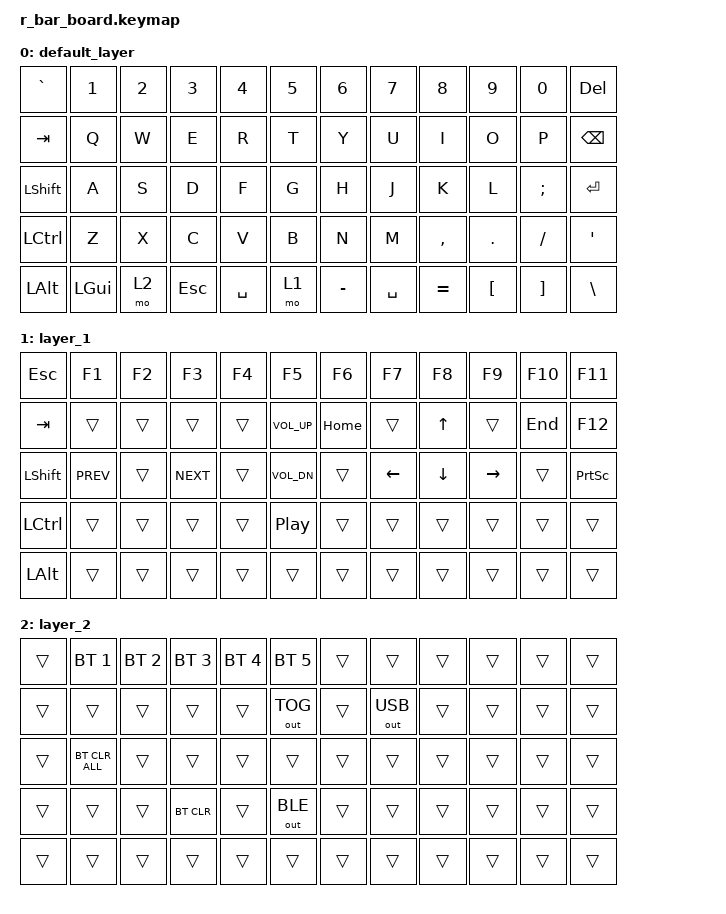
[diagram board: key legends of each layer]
#include <behaviors.dtsi>
#include <dt-bindings/zmk/keys.h>
#include <dt-bindings/zmk/bt.h>
#include <dt-bindings/zmk/outputs.h>

/ {
        keymap {
                compatible = "zmk,keymap";

                default_layer {
// --------------------------------------     --------------------------------------
// |   `  |  1  |  2  |  3  |  4  |  5  |     |  6  |  7  |  8  |  9  |  0  | DEL  |
// |  TAB |  Q  |  W  |  E  |  R  |  T  |     |  Y  |  U  |  I  |  O  |  P  | BSPC |
// | SHFT |  A  |  S  |  D  |  F  |  G  |     |  H  |  J  |  K  |  L  |  ;  |  ENT |
// | CTRL |  Z  |  X  |  C  |  V  |  B  |     |  N  |  M  |  ,  |  .  |  /  | APOS |
// | ALT  | GUI | LAY2| ESC | SPC | LAY1|     |MINUS| SPC |EQUAL|LBKT |RBKT | BSLH |
                        bindings = <
   &kp GRAVE  &kp N1    &kp N2    &kp N3    &kp N4     &kp N5            &kp N6     &kp N7      &kp N8     &kp N9    &kp N0    &kp DEL
   &kp TAB    &kp Q     &kp W     &kp E     &kp R      &kp T             &kp Y      &kp U       &kp I      &kp O     &kp P     &kp BSPC
   &kp LSHFT  &kp A     &kp S     &kp D     &kp F      &kp G             &kp H      &kp J       &kp K      &kp L     &kp SEMI  &kp RET
   &kp LCTRL  &kp Z     &kp X     &kp C     &kp V      &kp B             &kp N      &kp M       &kp COMMA  &kp DOT   &kp FSLH  &kp APOS
   &kp LALT   &kp LGUI  &mo 2     &kp ESC   &kp SPACE  &mo 1             &kp MINUS  &kp SPACE   &kp EQUAL  &kp LBKT  &kp RBKT  &kp BSLH
                        >;
                };
                layer_1 {
// -------------------------------------------------          -------------------------------------------------
// | ESC   |  F1   |  F2   |  F3   |  F4   |  F5   |          |  F6   |  F7   |  F8   |  F9   | F10   | F11   |
// | TAB   |       |       |       |       | VOL+  |          | HOME  |       |  UP   |       | END   | F12   |
// | SHFT  |C_PREV |       |C_NEXT |       | VOL-  |          |       | LEFT  | DOWN  | RIGHT |       | PSCRN |
// | CTRL  |       |       |       |       | >||   |          |       |       |       |       |       |       |
// | ALT   |       |       |       |       |       |          |       |       |       |       |       |       |
                        bindings = <
   &kp ESC    &kp F1     &kp F2    &kp F3     &kp F4   &kp F5                 &kp F6    &kp F7    &kp F8    &kp F9     &kp F10  &kp F11
   &kp TAB    &trans     &trans    &trans     &trans   &kp C_VOL_UP           &kp HOME  &trans    &kp UP    &trans     &kp END  &kp F12
   &kp LSHFT  &kp C_PREV &trans    &kp C_NEXT &trans   &kp C_VOL_DN           &trans    &kp LEFT  &kp DOWN  &kp RIGHT  &trans   &kp PSCRN
   &kp LCTRL  &trans     &trans    &trans     &trans   &kp C_PP               &trans    &trans    &trans    &trans     &trans   &trans
   &kp LALT   &trans     &trans    &trans     &trans   &trans                 &trans    &trans    &trans    &trans     &trans   &trans
                        >;
                };
                layer_2 {
// -------------------------------------------------          -------------------------------------------------
// |       |  BT 1 | BT 2  | BT 3  | BT 4  | BT 5  |          |       |       |       |       |       |       |
// |       |       |       |       |       |OUT_TOG|          |       |OUT_USB|       |       |       |       |
// |       |BTC ALL|       |       |       |       |          |       |       |       |       |       |       |
// |       |       |       |BT CLR |       |OUT_BLE|          |       |       |       |       |       |       |
// |       |       |       |       |       |       |          |       |       |       |       |       |       |
                        bindings = <
   &trans    &bt BT_SEL 1   &bt BT_SEL 2   &bt BT_SEL 3   &bt BT_SEL 4   &bt BT_SEL 5           &trans    &trans       &trans   &trans   &trans  &trans
   &trans    &trans         &trans         &trans         &trans         &out OUT_TOG           &trans    &out OUT_USB &trans   &trans   &trans  &trans
   &trans    &bt BT_CLR_ALL &trans         &trans         &trans         &trans                 &trans    &trans       &trans   &trans   &trans  &trans
   &trans    &trans         &trans         &bt BT_CLR     &trans         &out OUT_BLE           &trans    &trans       &trans   &trans   &trans  &trans
   &trans    &trans         &trans         &trans         &trans         &trans                 &trans    &trans       &trans   &trans   &trans  &trans
                        >;
                };
        };
};
